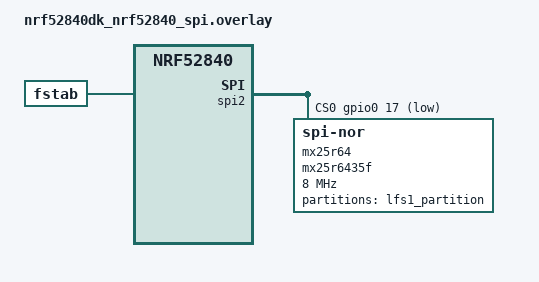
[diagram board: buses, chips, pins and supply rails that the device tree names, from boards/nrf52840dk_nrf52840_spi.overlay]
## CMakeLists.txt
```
cmake_minimum_required(VERSION 3.20.0)
find_package(Zephyr REQUIRED HINTS $ENV{ZEPHYR_BASE})
project(littlefs)

FILE(GLOB app_sources src/*.c)
target_sources(app PRIVATE ${app_sources})
```

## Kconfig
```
# Copyright (c) 2019 Peter Bigot Consulting, LLC
# SPDX-License-Identifier: Apache-2.0

mainmenu "littlefs sample"

config APP_WIPE_STORAGE
	bool "Option to clear the flash area before mounting"
	help
	  Use this to force an existing file system to be created.

choice
	prompt "Storage backend type used by the application"
	default APP_LITTLEFS_STORAGE_FLASH
	help
	  Specify the type of storage backend.

config APP_LITTLEFS_STORAGE_FLASH
	bool "Use flash memory backend"

config APP_LITTLEFS_STORAGE_BLK_SDMMC
	bool "Use block device (e.g. SD MMC) backend"
endchoice

source "Kconfig.zephyr"
```

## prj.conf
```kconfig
# Optionally force the file system to be recreated
#CONFIG_APP_WIPE_STORAGE=y

# fs_dirent structures are big.
CONFIG_MAIN_STACK_SIZE=4096

# Let __ASSERT do its job
CONFIG_DEBUG=y

CONFIG_LOG=y
CONFIG_LOG_MODE_MINIMAL=y

CONFIG_FLASH=y
CONFIG_FLASH_MAP=y

CONFIG_FILE_SYSTEM=y
CONFIG_FILE_SYSTEM_LITTLEFS=y
```

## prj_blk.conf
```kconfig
#
# Copyright (c) 2022 Lukasz Majewski, DENX Software Engineering GmbH
#
# SPDX-License-Identifier: Apache-2.0
#

CONFIG_DISK_ACCESS=y
CONFIG_DISK_DRIVERS=y
CONFIG_DISK_DRIVER_SDMMC=y

CONFIG_DEBUG=y
CONFIG_LOG=y
CONFIG_LOG_MODE_MINIMAL=y

CONFIG_FILE_SYSTEM=y
CONFIG_FILE_SYSTEM_LITTLEFS=y

CONFIG_FS_LITTLEFS_BLK_DEV=y
CONFIG_FS_LITTLEFS_FMP_DEV=n
CONFIG_APP_LITTLEFS_STORAGE_BLK_SDMMC=y

CONFIG_NOCACHE_MEMORY=y
```

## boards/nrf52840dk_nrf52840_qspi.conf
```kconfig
#
# Copyright (c) 2019 Peter Bigot Consulting, LLC
# Copyright (c) 2019 Nordic Semiconductor ASA
#
# SPDX-License-Identifier: Apache-2.0
#

# Need this when storage is on flash
CONFIG_MPU_ALLOW_FLASH_WRITE=y

# Need this when storage is on MX25R64
CONFIG_NORDIC_QSPI_NOR=y
CONFIG_NORDIC_QSPI_NOR_FLASH_LAYOUT_PAGE_SIZE=4096
```

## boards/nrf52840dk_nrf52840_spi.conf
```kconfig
#
# Copyright (c) 2023 Nordic Semiconductor ASA
#
# SPDX-License-Identifier: Apache-2.0
#
CONFIG_SPI=y
CONFIG_SPI_NOR=y
CONFIG_SPI_NOR_FLASH_LAYOUT_PAGE_SIZE=4096
```

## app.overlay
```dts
&flash0 {
    partitions {
        compatible = "fixed-partitions";
        #address-cells = <1>;
        #size-cells = <1>;

        boot_partition: partition@0 {
            label = "mcuboot";
            reg = <0x0 0xc000>;
        };
        slot0_partition: partition@c000 {
            label = "image-0";
            reg = <0xc000 0x76000>;
        };
        slot1_partition: partition@82000 {
            label = "image-1";
            reg = <0x82000 0x76000>;
        };
        storage_partition: partition@f8000 {
            label = "storage";
            reg = <0xf8000 0x8000>;
        };
    };
};
```

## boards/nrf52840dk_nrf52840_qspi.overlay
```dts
/*
 * Copyright (c) 2019 Peter Bigot Consulting, LLC
 *
 * SPDX-License-Identifier: Apache-2.0
 * It is more faster way and memory-mapped way for file system.
 * This file is used to configure the littlefs file system on the nRF52840 DK with QSPI flash.
 */

/delete-node/ &storage_partition;

/ {
	fstab {
		compatible = "zephyr,fstab";
		lfs1: lfs1 {
			compatible = "zephyr,fstab,littlefs";
			mount-point = "/lfs1";
			partition = <&lfs1_part>;
			automount;
			read-size = <16>;
			prog-size = <16>;
			cache-size = <64>;
			lookahead-size = <32>;
			block-cycles = <512>;
		};
	};
};

&mx25r64 {
	partitions {
		compatible = "fixed-partitions";
		#address-cells = <1>;
		#size-cells = <1>;

		lfs1_part: partition@0 {
			label = "storage";
			reg = <0x00000000 0x00010000>;
		};
	};
};
```

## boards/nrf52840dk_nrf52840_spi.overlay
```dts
/*
 * Copyright (c) 2023 Nordic Semiconductor ASA
 *
 * SPDX-License-Identifier: Apache-2.0
 * This file is used to configure the littlefs file system on the nRF52840 DK with SPI flash.
 * It is slower way for file system.
 */

/delete-node/ &mx25r64;

&qspi {
	status = "disabled";
};

/* The mx25, on nrf52840dk/nrf52840, uses pins for spi0, spi1, spi2 and spi3
 * to provide quad-spi feature. In individual specifications each of the spi
 * notes define own clock source (SCK), but spi2 shares the same clock source
 * as qspi configuration, which is pin (0,19). That is why spi2 is used here
 * to communicate with mx25, when qspi is not used, to avoid rerouting clock
 * pin.
 */
&spi2 {
	compatible = "nordic,nrf-spi";
	status = "okay";
	cs-gpios = <&gpio0 17 GPIO_ACTIVE_LOW>;
	pinctrl-0 = <&spi2_default>;
	pinctrl-1 = <&spi2_sleep>;
	pinctrl-names = "default", "sleep";
	mx25r64: mx25r6435f@0 {
		compatible = "jedec,spi-nor";
		reg = <0>;
		spi-max-frequency = <8000000>;
		jedec-id = [c2 28 17];
		sfdp-bfp = [
			e5 20 f1 ff  ff ff ff 03  44 eb 08 6b  08 3b 04 bb
			ee ff ff ff  ff ff 00 ff  ff ff 00 ff  0c 20 0f 52
			10 d8 00 ff  23 72 f5 00  82 ed 04 cc  44 83 68 44
			30 b0 30 b0  f7 c4 d5 5c  00 be 29 ff  f0 d0 ff ff
		];
		size = <67108864>;
		has-dpd;
		t-enter-dpd = <10000>;
		t-exit-dpd = <35000>;
	};
};

&mx25r64 {
	partitions {
		compatible = "fixed-partitions";
		#address-cells = <1>;
		#size-cells = <1>;

		lfs1_partition: partition@0 {
			label = "lfs1_partition";
			reg = <0x00000000 0x00010000>;
		};
	};
};

/ {
	fstab {
		compatible = "zephyr,fstab";
		lfs1: lfs1 {
			compatible = "zephyr,fstab,littlefs";
			mount-point = "/lfs1";
			partition = <&lfs1_partition>;
			automount;
			read-size = <16>;
			prog-size = <16>;
			cache-size = <64>;
			lookahead-size = <32>;
			block-cycles = <512>;
		};
	};
};
```

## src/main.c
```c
/*
 * Copyright (c) 2022 Lukasz Majewski, DENX Software Engineering GmbH
 * Copyright (c) 2019 Peter Bigot Consulting, LLC
 *
 * SPDX-License-Identifier: Apache-2.0
 */

/* Sample which uses the filesystem API with littlefs */

#include <stdio.h>

#include <zephyr/kernel.h>
#include <zephyr/device.h>
#include <zephyr/fs/fs.h>
#include <zephyr/fs/littlefs.h>
#include <zephyr/logging/log.h>
#include <zephyr/storage/flash_map.h>

LOG_MODULE_REGISTER(main);

/* Matches LFS_NAME_MAX */
#define MAX_PATH_LEN 255
#define TEST_FILE_SIZE 547

static uint8_t file_test_pattern[TEST_FILE_SIZE];
static int lsdir(const char *path)
{
	int res;
	struct fs_dir_t dirp;
	static struct fs_dirent entry;

	fs_dir_t_init(&dirp);

	/* Verify fs_opendir() */
	res = fs_opendir(&dirp, path);
	if (res)
	{
		LOG_ERR("Error opening dir %s [%d]\n", path, res);
		return res;
	}

	LOG_PRINTK("\nListing dir %s ...\n", path);
	for (;;)
	{
		/* Verify fs_readdir() */
		res = fs_readdir(&dirp, &entry);

		/* entry.name[0] == 0 means end-of-dir */
		if (res || entry.name[0] == 0)
		{
			if (res < 0)
			{
				LOG_ERR("Error reading dir [%d]\n", res);
			}
			break;
		}

		if (entry.type == FS_DIR_ENTRY_DIR)
		{
			LOG_PRINTK("[DIR ] %s\n", entry.name);
		}
		else
		{
			LOG_PRINTK("[FILE] %s (size = %zu)\n",
								 entry.name, entry.size);
		}
	}

	/* Verify fs_closedir() */
	fs_closedir(&dirp);

	return res;
}

static int rmdir(const char *path)
{
	int res;
	struct fs_dir_t dirp;

	fs_dir_t_init(&dirp);

	/* Verify fs_opendir() */
	res = fs_opendir(&dirp, path);
	if (res)
	{
		LOG_ERR("Error opening dir %s [%d]\n", path, res);
		return res;
	}

	/* Verify fs_closedir() */
	res = fs_closedir(&dirp);
	if (res)
	{
		LOG_ERR("Error closing dir %s [%d]\n", path, res);
		return res;
	}

	/* Verify fs_unlink() */
	res = fs_unlink(path);
	if (res)
	{
		LOG_ERR("Error removing dir %s [%d]\n", path, res);
		return res;
	}

	LOG_PRINTK("Directory %s removed successfully\n", path);
	return 0;
}

static int rmfile(const char *path)
{
	int res;
	res = fs_unlink(path);
	if (res)
	{
		LOG_ERR("Error removing file %s [%d]\n", path, res);
		return res;
	}
	LOG_PRINTK("File %s removed successfully\n", path);
	return 0;
}

static int littlefs_increase_infile_value(char *fname)
{
	uint8_t boot_count = 0;
	struct fs_file_t file;
	int rc, ret;

	fs_file_t_init(&file);
	rc = fs_open(&file, fname, FS_O_CREATE | FS_O_RDWR);
	if (rc < 0)
	{
		LOG_ERR("FAIL: open %s: %d", fname, rc);
		return rc;
	}

	rc = fs_read(&file, &boot_count, sizeof(boot_count));
	if (rc < 0)
	{
		LOG_ERR("FAIL: read %s: [rd:%d]", fname, rc);
		goto out;
	}
	LOG_PRINTK("%s read count:%u (bytes: %d)\n", fname, boot_count, rc);

	rc = fs_seek(&file, 0, FS_SEEK_SET);
	if (rc < 0)
	{
		LOG_ERR("FAIL: seek %s: %d", fname, rc);
		goto out;
	}

	boot_count += 1;
	rc = fs_write(&file, &boot_count, sizeof(boot_count));
	if (rc < 0)
	{
		LOG_ERR("FAIL: write %s: %d", fname, rc);
		goto out;
	}

	LOG_PRINTK("%s write new boot count %u: [wr:%d]\n", fname,
						 boot_count, rc);

out:
	ret = fs_close(&file);
	if (ret < 0)
	{
		LOG_ERR("FAIL: close %s: %d", fname, ret);
		return ret;
	}

	return (rc < 0 ? rc : 0);
}

static void incr_pattern(uint8_t *p, uint16_t size, uint8_t inc)
{
	uint8_t fill = 0x55;

	if (p[0] % 2 == 0)
	{
		fill = 0xAA;
	}

	for (int i = 0; i < (size - 1); i++)
	{
		if (i % 8 == 0)
		{
			p[i] += inc;
		}
		else
		{
			p[i] = fill;
		}
	}

	p[size - 1] += inc;
}

static void init_pattern(uint8_t *p, uint16_t size)
{
	uint8_t v = 0x1;

	memset(p, 0x55, size);

	for (int i = 0; i < size; i += 8)
	{
		p[i] = v++;
	}

	p[size - 1] = 0xAA;
}

static void print_pattern(uint8_t *p, uint16_t size)
{
	int i, j = size / 16, k;

	for (k = 0, i = 0; k < j; i += 16, k++)
	{
		LOG_PRINTK("%02x %02x %02x %02x %02x %02x %02x %02x ",
							 p[i], p[i + 1], p[i + 2], p[i + 3],
							 p[i + 4], p[i + 5], p[i + 6], p[i + 7]);
		LOG_PRINTK("%02x %02x %02x %02x %02x %02x %02x %02x\n",
							 p[i + 8], p[i + 9], p[i + 10], p[i + 11],
							 p[i + 12], p[i + 13], p[i + 14], p[i + 15]);

		/* Mark 512B (sector) chunks of the test file */
		if ((k + 1) % 32 == 0)
		{
			LOG_PRINTK("\n");
		}
	}

	for (; i < size; i++)
	{
		LOG_PRINTK("%02x ", p[i]);
	}

	LOG_PRINTK("\n");
}

static int littlefs_binary_file_adj(char *fname)
{
	struct fs_dirent dirent;
	struct fs_file_t file;
	int rc, ret;

	/*
	 * Uncomment below line to force re-creation of the test pattern
	 * file on the littlefs FS.
	 */
	/* fs_unlink(fname); */
	fs_file_t_init(&file);

	rc = fs_open(&file, fname, FS_O_CREATE | FS_O_RDWR);
	if (rc < 0)
	{
		LOG_ERR("FAIL: open %s: %d", fname, rc);
		return rc;
	}

	rc = fs_stat(fname, &dirent);
	if (rc < 0)
	{
		LOG_ERR("FAIL: stat %s: %d", fname, rc);
		goto out;
	}

	/* Check if the file exists - if not just write the pattern */
	if (rc == 0 && dirent.type == FS_DIR_ENTRY_FILE && dirent.size == 0)
	{
		LOG_INF("Test file: %s not found, create one!",
						fname);
		init_pattern(file_test_pattern, sizeof(file_test_pattern));
	}
	else
	{
		rc = fs_read(&file, file_test_pattern,
								 sizeof(file_test_pattern));
		if (rc < 0)
		{
			LOG_ERR("FAIL: read %s: [rd:%d]",
							fname, rc);
			goto out;
		}
		incr_pattern(file_test_pattern, sizeof(file_test_pattern), 0x1);
	}

	LOG_PRINTK("------ FILE: %s ------\n", fname);
	print_pattern(file_test_pattern, sizeof(file_test_pattern));

	rc = fs_seek(&file, 0, FS_SEEK_SET);
	if (rc < 0)
	{
		LOG_ERR("FAIL: seek %s: %d", fname, rc);
		goto out;
	}

	rc = fs_write(&file, file_test_pattern, sizeof(file_test_pattern));
	if (rc < 0)
	{
		LOG_ERR("FAIL: write %s: %d", fname, rc);
	}

out:
	ret = fs_close(&file);
	if (ret < 0)
	{
		LOG_ERR("FAIL: close %s: %d", fname, ret);
		return ret;
	}

	return (rc < 0 ? rc : 0);
}

static int littlefs_text_file_write(char *fname)
{
	struct fs_dirent dirent;
	struct fs_file_t file;
	int rc, ret;
	char text_content[256];
	static int write_count = 0;

	fs_file_t_init(&file);

	rc = fs_open(&file, fname, FS_O_CREATE | FS_O_RDWR);
	if (rc < 0)
	{
		LOG_ERR("FAIL: open %s: %d", fname, rc);
		return rc;
	}

	rc = fs_stat(fname, &dirent);
	if (rc < 0)
	{
		LOG_ERR("FAIL: stat %s: %d", fname, rc);
		goto out;
	}

	/* Check if the file exists - if not create initial content */
	if (rc == 0 && dirent.type == FS_DIR_ENTRY_FILE && dirent.size == 0)
	{
		LOG_INF("Text file: %s not found, creating one!", fname);
		write_count = 0;
	}
	else
	{
		/* Read existing content to get the current count */
		char temp_buffer[32];
		rc = fs_read(&file, temp_buffer, sizeof(temp_buffer) - 1);
		if (rc > 0)
		{
			temp_buffer[rc] = '\0';
			sscanf(temp_buffer, "Write count: %d", &write_count);
		}
	}

	/* Increment the write count */
	write_count++;

	/* Create text content */
	snprintf(text_content, sizeof(text_content),
					 "Write count: %d\n"
					 "Hello from LittleFS!\n"
					 "This is a text file example.\n"
					 "Current time: %d ms\n",
					 write_count, (int)k_uptime_get());

	LOG_PRINTK("------ TEXT FILE: %s ------\n", fname);
	LOG_PRINTK("Content:\n%s", text_content);

	/* Seek to beginning and write new content */
	rc = fs_seek(&file, 0, FS_SEEK_SET);
	if (rc < 0)
	{
		LOG_ERR("FAIL: seek %s: %d", fname, rc);
		goto out;
	}

	rc = fs_write(&file, text_content, strlen(text_content));
	if (rc < 0)
	{
		LOG_ERR("FAIL: write %s: %d", fname, rc);
		goto out;
	}

	/* Truncate file to new size */
	rc = fs_truncate(&file, strlen(text_content));
	if (rc < 0)
	{
		LOG_ERR("FAIL: truncate %s: %d", fname, rc);
	}

out:
	ret = fs_close(&file);
	if (ret < 0)
	{
		LOG_ERR("FAIL: close %s: %d", fname, ret);
		return ret;
	}

	return (rc < 0 ? rc : 0);
}

#ifdef CONFIG_APP_LITTLEFS_STORAGE_FLASH
static int littlefs_flash_erase(unsigned int id)
{
	const struct flash_area *pfa;
	int rc;

	rc = flash_area_open(id, &pfa);
	if (rc < 0)
	{
		LOG_ERR("FAIL: unable to find flash area %u: %d\n",
						id, rc);
		return rc;
	}

	LOG_PRINTK("Area %u at 0x%x on %s for %u bytes\n",
						 id, (unsigned int)pfa->fa_off, pfa->fa_dev->name,
						 (unsigned int)pfa->fa_size);

	/* Optional wipe flash contents */
	if (IS_ENABLED(CONFIG_APP_WIPE_STORAGE))
	{
		rc = flash_area_flatten(pfa, 0, pfa->fa_size);
		LOG_ERR("Erasing flash area ... %d", rc);
	}

	flash_area_close(pfa);
	return rc;
}
#define PARTITION_NODE DT_NODELABEL(lfs1)

#if DT_NODE_EXISTS(PARTITION_NODE)
FS_FSTAB_DECLARE_ENTRY(PARTITION_NODE);
#else	 /* PARTITION_NODE */
FS_LITTLEFS_DECLARE_DEFAULT_CONFIG(storage);
static struct fs_mount_t lfs_storage_mnt = {
		.type = FS_LITTLEFS,
		.fs_data = &storage,
		.storage_dev = (void *)FIXED_PARTITION_ID(storage_partition),
		.mnt_point = "/lfs",
};
#endif /* PARTITION_NODE */

struct fs_mount_t *mountpoint =
#if DT_NODE_EXISTS(PARTITION_NODE)
		&FS_FSTAB_ENTRY(PARTITION_NODE)
#else
		&lfs_storage_mnt
#endif
		;

static int littlefs_mount(struct fs_mount_t *mp)
{
	int rc;

	rc = littlefs_flash_erase((uintptr_t)mp->storage_dev);
	if (rc < 0)
	{
		return rc;
	}

	/* Do not mount if auto-mount has been enabled */
#if !DT_NODE_EXISTS(PARTITION_NODE) || \
		!(FSTAB_ENTRY_DT_MOUNT_FLAGS(PARTITION_NODE) & FS_MOUNT_FLAG_AUTOMOUNT)
	rc = fs_mount(mp);
	if (rc < 0)
	{
		LOG_PRINTK("FAIL: mount id %" PRIuPTR " at %s: %d\n",
							 (uintptr_t)mp->storage_dev, mp->mnt_point, rc);
		return rc;
	}
	LOG_PRINTK("%s mount: %d\n", mp->mnt_point, rc);
#else
	LOG_PRINTK("%s automounted\n", mp->mnt_point);
#endif

	return 0;
}
#endif /* CONFIG_APP_LITTLEFS_STORAGE_FLASH */

#ifdef CONFIG_APP_LITTLEFS_STORAGE_BLK_SDMMC

#if defined(CONFIG_DISK_DRIVER_SDMMC)
#define DISK_NAME "SD"
#elif defined(CONFIG_DISK_DRIVER_MMC)
#define DISK_NAME "SD2"
#else
#error "No disk device defined, is your board supported?"
#endif

struct fs_littlefs lfsfs;
static struct fs_mount_t __mp = {
		.type = FS_LITTLEFS,
		.fs_data = &lfsfs,
		.flags = FS_MOUNT_FLAG_USE_DISK_ACCESS,
};
struct fs_mount_t *mountpoint = &__mp;

static int littlefs_mount(struct fs_mount_t *mp)
{
	static const char *disk_mount_pt = "/" DISK_NAME ":";
	static const char *disk_pdrv = DISK_NAME;

	mp->storage_dev = (void *)disk_pdrv;
	mp->mnt_point = disk_mount_pt;

	return fs_mount(mp);
}
#endif /* CONFIG_APP_LITTLEFS_STORAGE_BLK_SDMMC */

int main(void)
{
	char fname1[MAX_PATH_LEN];
	char fname2[MAX_PATH_LEN];
	char fname3[MAX_PATH_LEN];
	struct fs_statvfs sbuf;
	int rc;

	LOG_PRINTK("Sample program to r/w files on littlefs\n");

	rc = littlefs_mount(mountpoint);
	if (rc < 0)
	{
		return 0;
	}

	snprintf(fname1, sizeof(fname1), "%s/boot_count", mountpoint->mnt_point);
	snprintf(fname2, sizeof(fname2), "%s/test.txt", mountpoint->mnt_point);
	snprintf(fname3, sizeof(fname3), "%s/pattern.bin", mountpoint->mnt_point);

	rc = fs_statvfs(mountpoint->mnt_point, &sbuf);
	if (rc < 0)
	{
		LOG_PRINTK("FAIL: statvfs: %d\n", rc);
		goto out;
	}

	LOG_PRINTK("%s: bsize = %lu ; frsize = %lu ;"
						 " blocks = %lu ; bfree = %lu\n",
						 mountpoint->mnt_point,
						 sbuf.f_bsize, sbuf.f_frsize,
						 sbuf.f_blocks, sbuf.f_bfree);

	rc = lsdir(mountpoint->mnt_point);
	if (rc < 0)
	{
		LOG_PRINTK("FAIL: lsdir %s: %d\n", mountpoint->mnt_point, rc);
		goto out;
	}

	rc = littlefs_increase_infile_value(fname1);
	if (rc)
	{
		goto out;
	}

	rc = littlefs_text_file_write(fname2);
	if (rc)
	{
		goto out;
	}

	rc = littlefs_binary_file_adj(fname3);
	if (rc)
	{
		goto out;
	}

	rc = rmfile(fname3);
	if (rc)
	{
		goto out;
	}

	rc = lsdir(mountpoint->mnt_point);

out:
	rc = fs_unmount(mountpoint);
	LOG_PRINTK("%s unmount: %d\n", mountpoint->mnt_point, rc);
	return 0;
}
```
